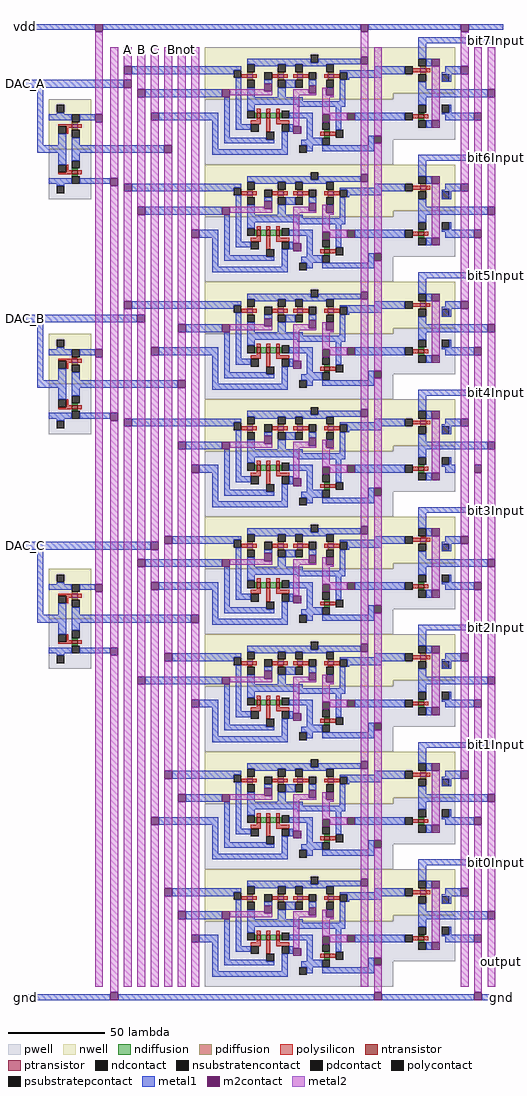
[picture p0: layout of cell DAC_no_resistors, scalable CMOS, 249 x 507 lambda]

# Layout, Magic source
magic
tech scmos
<< metal1 >>
rect -94 497 -57 500
rect -53 497 81 500
rect 85 497 133 500
rect 137 497 155 500
rect 111 490 155 493
rect 111 488 115 490
rect -38 474 0 478
rect 130 474 133 478
rect -94 467 -42 471
rect -87 437 -84 467
rect -31 462 0 466
rect 130 462 147 466
rect -59 450 -57 453
rect -24 450 0 454
rect 130 450 140 454
rect -87 433 -81 437
rect -59 433 -21 437
rect 111 429 155 432
rect 111 427 115 429
rect -59 417 -49 420
rect -38 413 0 417
rect 130 413 133 417
rect -31 401 0 405
rect 130 401 147 405
rect -3 389 0 393
rect 130 389 140 393
rect 111 368 155 371
rect 111 366 115 368
rect -38 352 0 356
rect 130 352 133 356
rect -94 345 -35 349
rect -87 315 -84 345
rect -10 340 0 344
rect 130 340 147 344
rect -59 328 -57 331
rect -24 328 0 332
rect 130 328 140 332
rect -87 311 -81 315
rect -59 311 -14 315
rect 111 307 155 310
rect 111 305 115 307
rect -59 295 -49 298
rect -38 291 0 295
rect 130 291 133 295
rect -10 279 0 283
rect 130 279 147 283
rect -3 267 0 271
rect 111 246 155 249
rect 111 244 115 246
rect -94 227 -28 231
rect -17 230 0 234
rect 130 230 133 234
rect -87 193 -84 227
rect -31 218 0 222
rect 130 218 147 222
rect -59 206 -57 209
rect -24 206 0 210
rect 130 206 140 210
rect -87 189 -81 193
rect -59 189 -7 193
rect 111 185 155 188
rect 111 183 115 185
rect -59 173 -49 176
rect -17 169 0 173
rect 130 169 133 173
rect -31 157 0 161
rect 130 157 147 161
rect -3 145 0 149
rect 130 145 140 149
rect 111 124 155 127
rect 111 122 115 124
rect -17 108 0 112
rect 130 108 133 112
rect -10 96 0 100
rect 130 96 147 100
rect -24 84 0 88
rect 130 84 140 88
rect 111 63 155 66
rect 111 61 115 63
rect -17 47 0 51
rect 130 47 133 51
rect -10 35 0 39
rect 130 35 147 39
rect -3 23 0 27
rect 130 23 140 27
rect -94 -7 -49 -4
rect -45 -7 88 -4
rect 92 -7 140 -4
rect 144 -7 155 -4
<< m2contact >>
rect -57 496 -53 500
rect 81 496 85 500
rect 133 496 137 500
rect -42 474 -38 478
rect 133 474 137 478
rect -42 467 -38 471
rect -35 462 -31 466
rect 147 462 151 466
rect -57 449 -53 453
rect -28 450 -24 454
rect 140 450 144 454
rect -21 433 -17 437
rect -49 416 -45 420
rect -42 413 -38 417
rect 133 413 137 417
rect -35 401 -31 405
rect 147 401 151 405
rect -7 389 -3 393
rect 140 389 144 393
rect -42 352 -38 356
rect 133 352 137 356
rect -35 345 -31 349
rect -14 340 -10 344
rect 147 340 151 344
rect -57 327 -53 331
rect -28 328 -24 332
rect 140 328 144 332
rect -14 311 -10 315
rect -49 294 -45 298
rect -42 291 -38 295
rect 133 291 137 295
rect -14 279 -10 283
rect 147 279 151 283
rect -7 267 -3 271
rect 140 267 144 271
rect -28 227 -24 231
rect -21 230 -17 234
rect 133 230 137 234
rect -35 218 -31 222
rect 147 218 151 222
rect -57 205 -53 209
rect -28 206 -24 210
rect 140 206 144 210
rect -7 189 -3 193
rect -49 172 -45 176
rect -21 169 -17 173
rect 133 169 137 173
rect -35 157 -31 161
rect 147 157 151 161
rect -7 145 -3 149
rect 140 145 144 149
rect -21 108 -17 112
rect 133 108 137 112
rect -14 96 -10 100
rect 147 96 151 100
rect -28 84 -24 88
rect 140 84 144 88
rect -21 47 -17 51
rect 133 47 137 51
rect -14 35 -10 39
rect 147 35 151 39
rect -7 23 -3 27
rect 140 23 144 27
rect -49 -7 -45 -3
rect 88 -7 92 -3
rect 140 -7 144 -3
<< metal2 >>
rect -57 453 -53 496
rect 81 488 85 496
rect -57 331 -53 449
rect -57 209 -53 327
rect -57 0 -53 205
rect -49 420 -45 488
rect -49 298 -45 416
rect -49 176 -45 294
rect -49 -3 -45 172
rect -42 478 -38 488
rect -42 471 -38 474
rect -42 417 -38 467
rect -42 356 -38 413
rect -42 295 -38 352
rect -42 0 -38 291
rect -35 466 -31 488
rect -35 405 -31 462
rect -35 349 -31 401
rect -35 222 -31 345
rect -35 161 -31 218
rect -35 0 -31 157
rect -28 454 -24 488
rect -28 332 -24 450
rect -28 231 -24 328
rect -28 210 -24 227
rect -28 88 -24 206
rect -28 0 -24 84
rect -21 437 -17 488
rect -21 234 -17 433
rect -21 173 -17 230
rect -21 112 -17 169
rect -21 51 -17 108
rect -21 0 -17 47
rect -14 344 -10 488
rect -14 315 -10 340
rect -14 283 -10 311
rect -14 100 -10 279
rect -14 39 -10 96
rect -14 0 -10 35
rect -7 393 -3 488
rect -7 271 -3 389
rect -7 193 -3 267
rect -7 149 -3 189
rect -7 27 -3 145
rect -7 0 -3 23
rect 133 478 137 496
rect 133 417 137 474
rect 133 356 137 413
rect 133 295 137 352
rect 133 234 137 291
rect 133 173 137 230
rect 133 112 137 169
rect 133 51 137 108
rect 133 0 137 47
rect 140 454 144 488
rect 140 393 144 450
rect 140 332 144 389
rect 140 271 144 328
rect 140 210 144 267
rect 140 149 144 206
rect 140 88 144 145
rect 140 27 144 84
rect 88 -3 92 0
rect 140 -3 144 23
rect 147 466 151 488
rect 147 405 151 462
rect 147 344 151 401
rect 147 283 151 340
rect 147 222 151 279
rect 147 161 151 218
rect 147 100 151 157
rect 147 39 151 96
rect 147 15 151 35
rect 147 11 155 15
rect 147 0 151 11
use inverter  inverter_0
transform 1 0 -80 0 1 442
box -1 -33 21 19
use 3AND  3AND_7
transform 1 0 65 0 1 454
box -65 -27 33 34
use PassGate  PassGate_7
transform 1 0 115 0 1 457
box -17 -17 15 31
use 3AND  3AND_6
transform 1 0 65 0 1 393
box -65 -27 33 34
use PassGate  PassGate_6
transform 1 0 115 0 1 396
box -17 -17 15 31
use inverter  inverter_1
transform 1 0 -80 0 1 320
box -1 -33 21 19
use 3AND  3AND_5
transform 1 0 65 0 1 332
box -65 -27 33 34
use PassGate  PassGate_5
transform 1 0 115 0 1 335
box -17 -17 15 31
use 3AND  3AND_4
transform 1 0 65 0 1 271
box -65 -27 33 34
use PassGate  PassGate_4
transform 1 0 115 0 1 274
box -17 -17 15 31
use inverter  inverter_2
transform 1 0 -80 0 1 198
box -1 -33 21 19
use 3AND  3AND_3
transform 1 0 65 0 1 210
box -65 -27 33 34
use PassGate  PassGate_3
transform 1 0 115 0 1 213
box -17 -17 15 31
use 3AND  3AND_2
transform 1 0 65 0 1 149
box -65 -27 33 34
use PassGate  PassGate_2
transform 1 0 115 0 1 152
box -17 -17 15 31
use 3AND  3AND_1
transform 1 0 65 0 1 88
box -65 -27 33 34
use PassGate  PassGate_1
transform 1 0 115 0 1 91
box -17 -17 15 31
use 3AND  3AND_0
transform 1 0 65 0 1 27
box -65 -27 33 34
use PassGate  PassGate_0
transform 1 0 115 0 1 30
box -17 -17 15 31
<< labels >>
rlabel metal2 -42 486 -38 488 4 A
rlabel metal2 -35 486 -31 488 5 B
rlabel metal2 -28 486 -24 488 5 C
rlabel metal2 -14 486 -10 488 5 Bnot
rlabel metal2 -7 486 -3 488 5 Cnot
rlabel metal2 -21 486 -17 488 5 Anot
rlabel metal1 153 63 155 66 7 bit0Input
rlabel metal1 153 124 155 127 7 bit1Input
rlabel metal1 153 185 155 188 7 bit2Input
rlabel metal1 153 246 155 249 7 bit3Input
rlabel metal1 153 307 155 310 7 bit4Input
rlabel metal1 153 368 155 371 7 bit5Input
rlabel metal1 153 429 155 432 7 bit6Input
rlabel metal1 153 490 155 493 7 bit7Input
rlabel metal1 -94 227 -92 231 1 DAC_C
rlabel metal1 -94 345 -92 349 1 DAC_B
rlabel metal1 -94 467 -92 471 1 DAC_A
rlabel metal1 -94 -7 -92 -4 1 gnd
rlabel metal1 -94 497 -92 500 4 vdd
rlabel metal1 153 497 155 500 6 Vdd
rlabel metal1 153 -7 155 -4 8 gnd
rlabel metal2 153 11 155 15 7 output
<< end >>

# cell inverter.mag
magic
tech scmos
<< nwell >>
rect -1 -7 21 19
<< pwell >>
rect -1 -33 21 -7
<< ntransistor >>
rect 11 -20 14 -18
<< ptransistor >>
rect 11 4 14 6
<< ndiffusion >>
rect 11 -18 14 -17
rect 11 -21 14 -20
<< pdiffusion >>
rect 11 6 14 7
rect 11 3 14 4
<< ndcontact >>
rect 11 -17 15 -13
rect 11 -25 15 -21
<< pdcontact >>
rect 11 7 15 11
rect 11 -1 15 3
<< psubstratepcontact >>
rect 3 -30 7 -26
<< nsubstratencontact >>
rect 3 12 7 16
<< polysilicon >>
rect 4 5 11 6
rect 8 4 11 5
rect 14 4 16 6
rect 8 1 9 4
rect 8 -18 9 -15
rect 8 -19 11 -18
rect 4 -20 11 -19
rect 14 -20 16 -18
<< polycontact >>
rect 4 1 8 5
rect 4 -19 8 -15
<< metal1 >>
rect 3 11 7 12
rect -1 8 11 11
rect 15 8 21 11
rect 4 -5 8 1
rect -1 -9 8 -5
rect 4 -15 8 -9
rect 11 -5 15 -1
rect 11 -9 21 -5
rect 11 -13 15 -9
rect -1 -25 11 -22
rect 15 -25 21 -22
rect 3 -26 7 -25
<< labels >>
rlabel metal1 -1 8 0 11 4 Vdd
rlabel metal1 -1 -25 0 -22 2 gnd
rlabel metal1 -1 -9 0 -5 3 A
rlabel metal1 20 8 21 11 7 Vdd
rlabel metal1 20 -9 21 -5 7 Anot
rlabel metal1 20 -25 21 -22 7 gnd
<< end >>

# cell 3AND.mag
magic
tech scmos
<< nwell >>
rect -65 7 33 34
<< pwell >>
rect -65 -27 33 7
<< ntransistor >>
rect -38 -3 -36 0
rect -33 -3 -31 0
rect -28 -3 -26 0
rect -3 -12 0 -10
<< ptransistor >>
rect -43 18 -40 20
rect -27 18 -24 20
rect -17 18 -14 20
rect -1 18 2 20
<< ndiffusion >>
rect -39 -3 -38 0
rect -36 -3 -33 0
rect -31 -3 -28 0
rect -26 -3 -25 0
rect -4 -5 0 -1
rect 9 -4 13 0
rect -3 -10 0 -9
rect -3 -13 0 -12
rect 23 -16 27 -12
<< pdiffusion >>
rect -43 20 -40 21
rect -43 17 -40 18
rect -27 20 -24 21
rect -17 20 -14 21
rect -27 17 -24 18
rect -17 17 -14 18
rect -1 20 2 21
rect -1 17 2 18
<< ndcontact >>
rect -43 -3 -39 1
rect -25 -3 -21 1
rect -4 -9 0 -5
rect -4 -17 0 -13
<< pdcontact >>
rect -43 21 -39 25
rect -27 21 -23 25
rect -18 21 -14 25
rect -2 21 2 25
rect -43 13 -39 17
rect -27 13 -23 17
rect -18 13 -14 17
rect -2 13 2 17
<< psubstratepcontact >>
rect -16 -21 -12 -17
<< nsubstratencontact >>
rect -10 26 -6 30
<< polysilicon >>
rect -46 18 -43 20
rect -40 18 -38 20
rect -30 18 -27 20
rect -24 18 -22 20
rect -19 18 -17 20
rect -14 18 -11 20
rect -3 18 -1 20
rect 2 18 5 20
rect -38 0 -36 2
rect -33 0 -31 2
rect -28 0 -26 2
rect -38 -4 -36 -3
rect -41 -6 -36 -4
rect -33 -10 -31 -3
rect -28 -4 -26 -3
rect -28 -6 -21 -4
rect -5 -12 -3 -10
rect 0 -12 3 -10
<< polycontact >>
rect -50 18 -46 22
rect -34 17 -30 21
rect -11 17 -7 21
rect 5 17 9 21
rect -41 -10 -37 -6
rect -25 -10 -21 -6
rect -33 -14 -29 -10
rect 3 -13 7 -9
<< metal1 >>
rect -43 26 -10 28
rect -6 26 16 28
rect -43 25 16 26
rect -65 22 -46 24
rect -65 20 -50 22
rect -39 24 -27 25
rect -23 24 -18 25
rect -14 24 -2 25
rect 23 22 33 24
rect 5 21 33 22
rect -65 8 -56 12
rect -65 -4 -58 0
rect -61 -19 -58 -4
rect -55 -13 -52 8
rect -49 -6 -46 18
rect 9 20 33 21
rect 9 18 27 20
rect 9 17 10 18
rect -43 8 -39 13
rect -34 15 -30 17
rect -23 13 -18 17
rect -11 14 -7 17
rect -27 8 -23 13
rect -43 6 -14 8
rect 5 6 8 17
rect -43 4 8 6
rect -43 1 -39 4
rect -17 3 8 4
rect -21 -3 -9 0
rect -49 -9 -41 -6
rect -21 -10 -19 -6
rect -55 -14 -33 -13
rect -55 -16 -29 -14
rect -25 -19 -22 -10
rect -12 -13 -9 -3
rect 3 -9 6 3
rect 13 -4 33 0
rect -12 -14 -4 -13
rect -15 -17 -4 -14
rect 20 -17 23 -12
rect -61 -22 -22 -19
rect -12 -20 -9 -17
rect -4 -20 23 -17
<< m2contact >>
rect 16 25 20 29
rect -56 8 -52 12
rect -34 11 -30 15
rect -11 10 -7 14
rect -2 9 2 13
rect -19 -11 -15 -7
rect -4 -5 0 -1
rect 9 -4 13 0
rect 23 -16 27 -12
<< metal2 >>
rect 16 29 20 34
rect -52 11 -34 12
rect -52 9 -30 11
rect -19 10 -11 12
rect -19 9 -7 10
rect -4 9 -2 13
rect -19 -7 -16 9
rect -4 8 2 9
rect -4 0 0 8
rect -4 -1 9 0
rect 0 -4 9 -1
rect 16 -27 20 25
rect 23 -12 27 34
rect 23 -27 27 -16
<< labels >>
rlabel metal1 31 -4 33 0 7 Z
rlabel metal1 31 20 33 24 7 Znot
rlabel metal1 -65 -4 -63 0 3 A
rlabel metal1 -65 8 -63 12 3 B
rlabel metal1 -65 20 -63 24 3 C
rlabel metal2 23 32 27 34 5 gnd
rlabel metal2 16 32 20 34 5 vdd
<< end >>

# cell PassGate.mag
magic
tech scmos
<< nwell >>
rect -17 7 15 31
<< pwell >>
rect -17 -17 15 7
<< ntransistor >>
rect -4 -6 -1 -4
<< ptransistor >>
rect -3 18 0 20
<< ndiffusion >>
rect -4 -4 -1 -3
rect -4 -7 -1 -6
<< pdiffusion >>
rect -3 20 0 21
rect -3 17 0 18
<< ndcontact >>
rect -4 -3 0 1
rect -4 -11 0 -7
<< pdcontact >>
rect -4 21 0 25
rect -4 13 0 17
<< psubstratepcontact >>
rect 8 -3 12 1
<< nsubstratencontact >>
rect 8 13 12 17
<< polysilicon >>
rect -7 18 -3 20
rect 0 18 2 20
rect -7 -6 -4 -4
rect -1 -6 1 -4
<< polycontact >>
rect -11 17 -7 21
rect -11 -7 -7 -3
<< metal1 >>
rect -4 25 0 31
rect 0 21 3 25
rect -17 17 -11 21
rect 10 18 15 21
rect 8 17 15 18
rect 8 13 13 17
rect -4 9 0 13
rect -4 5 15 9
rect -4 1 0 5
rect 12 -3 13 1
rect -17 -7 -11 -3
rect 8 -4 15 -3
rect 10 -7 15 -4
rect 0 -11 3 -7
<< m2contact >>
rect 3 21 7 25
rect 3 -11 7 -7
<< metal2 >>
rect 3 -7 7 21
<< labels >>
rlabel metal1 -17 17 -14 21 3 Anot
rlabel metal1 -17 -7 -14 -3 3 A
rlabel metal1 -4 29 0 31 5 input
rlabel metal1 13 5 15 9 7 output
rlabel metal1 13 -7 15 -3 7 gnd
rlabel metal1 13 17 15 21 7 Vdd
<< end >>
